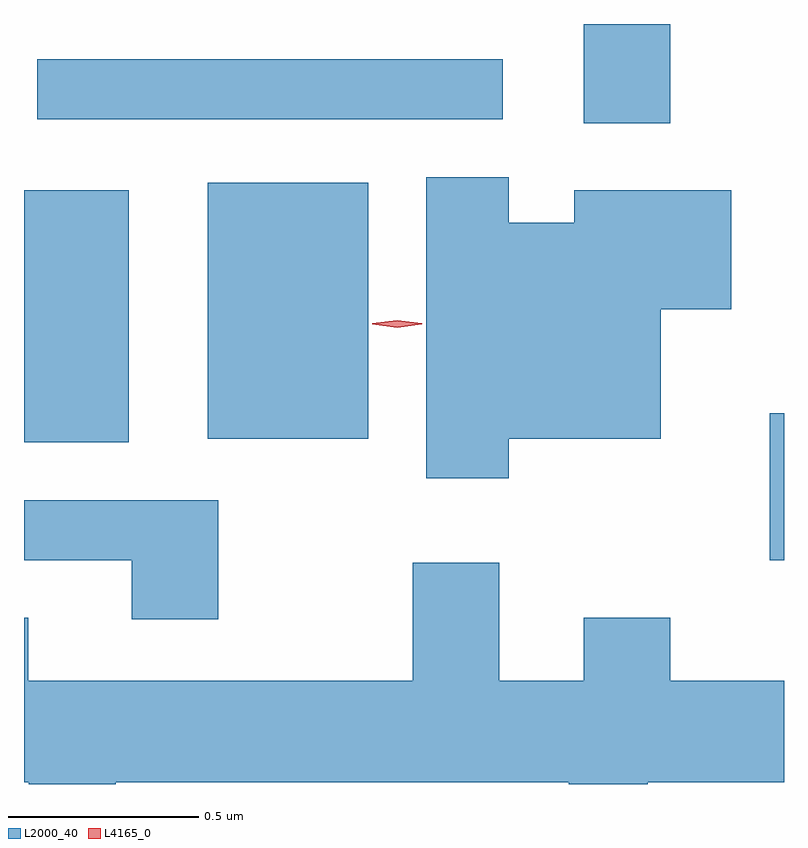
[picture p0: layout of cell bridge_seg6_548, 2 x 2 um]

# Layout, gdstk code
import gdstk
lib = gdstk.Library(unit=1e-6, precision=1e-09)
def R(c, l, rs):  # rectangles x0, y0, x1, y1
    for r in rs: c.add(gdstk.rectangle(r[:2], r[2:], *l))
def P(c, l, *ps):  # polygons
    for p in ps: c.add(gdstk.Polygon(p, *l))
L2000_40 = (2000, 40)
L4165_0 = (4165, 0)

bridge_seg6_548 = lib.new_cell('bridge_seg6_548')
R(bridge_seg6_548, L2000_40, [(603.201,1666.061,603.238,1666.448), (601.238,1666.371,601.514,1667.034), (601.721,1666.381,602.144,1667.054), (602.711,1667.211,602.939,1667.472), (601.273,1667.221,602.498,1667.379)])
P(bridge_seg6_548, L2000_40, [(602.514,1666.381),(602.914,1666.381),(602.914,1666.721),(603.099,1666.721),(603.099,1667.034),(602.686,1667.034),(602.686,1666.949),(602.514,1666.949),(602.514,1667.069),(602.296,1667.069),(602.296,1666.276),(602.514,1666.276)],
  [(601.749,1666.219),(601.238,1666.219),(601.238,1666.061),(601.521,1666.061),(601.521,1665.906),(601.749,1665.906)],
  [(601.479,1665.476),(602.671,1665.476),(602.671,1665.472),(602.879,1665.472),(602.879,1665.476),(603.238,1665.476),(603.238,1665.744),(602.939,1665.744),(602.939,1665.909),(602.711,1665.909),(602.711,1665.744),(602.489,1665.744),(602.489,1666.054),(602.261,1666.054),(602.261,1665.744),(601.249,1665.744),(601.249,1665.909),(601.238,1665.909),(601.238,1665.476),(601.251,1665.476),(601.251,1665.472),(601.479,1665.472)])
P(bridge_seg6_548, L4165_0, [(602.22,1666.673),(602.154,1666.682),(602.154,1666.683),(602.154,1666.684),(602.22,1666.693),(602.285,1666.684),(602.286,1666.683),(602.285,1666.682)])

lib.write_gds('bridge_seg6_548.gds')
